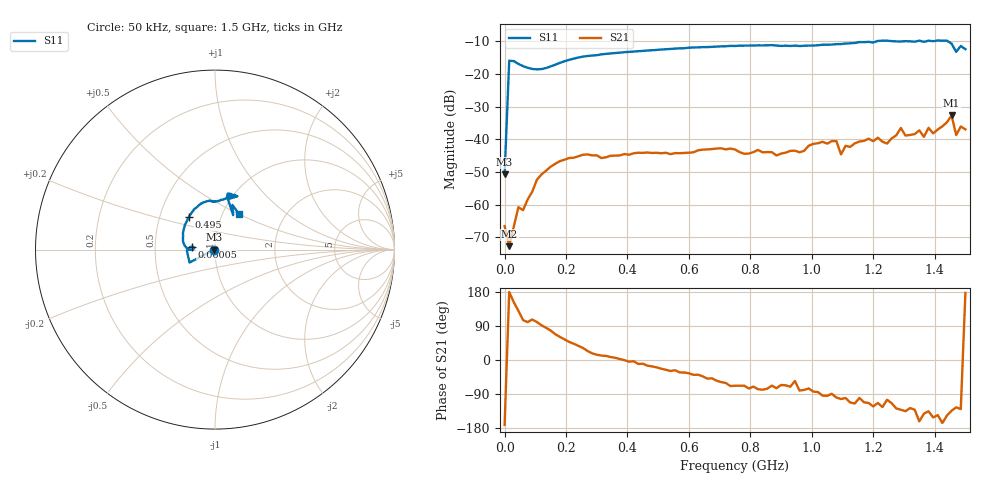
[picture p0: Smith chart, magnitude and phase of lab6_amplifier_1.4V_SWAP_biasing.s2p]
# HZ S RI R 50
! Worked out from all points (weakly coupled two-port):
!   101 points, 50 kHz to 1.5 GHz, reference 50 ohm
!   highest |S21| = -32.71 dB at 1.455 GHz (marker M1); lowest = -72.7 dB at 15.05 MHz (marker M2)
!   lowest |S11| = -50.8 dB at 50 kHz (marker M3), VSWR 1.01, Z = 49.7 + j0.0198 ohm
!   |S11| at or under -10 dB: start of sweep to 1.212 GHz; 1.265 GHz to 1.303 GHz (37.33 MHz wide, 2.91 % of centre); 1.443 GHz to end of sweep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
!   S12 and S22 are empty: the file has one direction only
!   S11 on the Smith chart (normalised r, x): 50 kHz: 0.99, +0.00; 60.05 MHz: 0.77, +0.03; 495 MHz: 0.70, +0.27; 1.5 GHz: 1.19, +0.50
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50000  -0.00289 0.000199  -0.000462 -6.95e-05  0 0  0 0
1.50495e7  -0.1418 -0.072  -0.00023 2.45e-06  0 0  0 0
4.50485e7  -0.1415 0.0121  -0.000583 0.0007  0 0  0 0
6.0048e7  -0.1303 0.0167  -0.000217 0.000789  0 0  0 0
1.20046e8  -0.1183 0.00472  -8.58e-05 0.00288  0 0  0 0
2.550415e8  -0.178 0.0461  0.00491 0.00305  0 0  0 0
4.950335e8  -0.1444 0.1826  0.00584 -0.00206  0 0  0 0
5.10033e8  -0.1422 0.1882  0.00561 -0.00237  0 0  0 0
7.50025e8  -0.0728 0.2572  0.00261 -0.00645  0 0  0 0
8.850205e8  -0.0245 0.2705  0.00152 -0.00543  0 0  0 0
1.005016e9  0.0207 0.2705  0.000991 -0.00843  0 0  0 0
1.080014e9  0.0502 0.2808  -0.00147 -0.00927  0 0  0 0
1.095014e9  0.0528 0.2812  -0.00131 -0.00569  0 0  0 0
1.110013e9  0.0603 0.2851  -0.00143 -0.00779  0 0  0 0
1.260008e9  0.0786 0.3075  -0.00418 -0.00942  0 0  0 0
1.290007e9  0.0769 0.3035  -0.00981 -0.0112  0 0  0 0
1.305006e9  0.0872 0.3046  -0.00803 -0.00802  0 0  0 0
1.380004e9  0.1059 0.3043  -0.0106 -0.0105  0 0  0 0
1.395004e9  0.1052 0.2981  -0.0108 -0.00588  0 0  0 0
1.455002e9  0.0723 0.2809  -0.016 -0.0167  0 0  0 0
1.470001e9  0.1013 0.1919  -0.00663 -0.0095  0 0  0 0
1.5e9  0.1337 0.1976  -0.0141 0.000761  0 0  0 0
